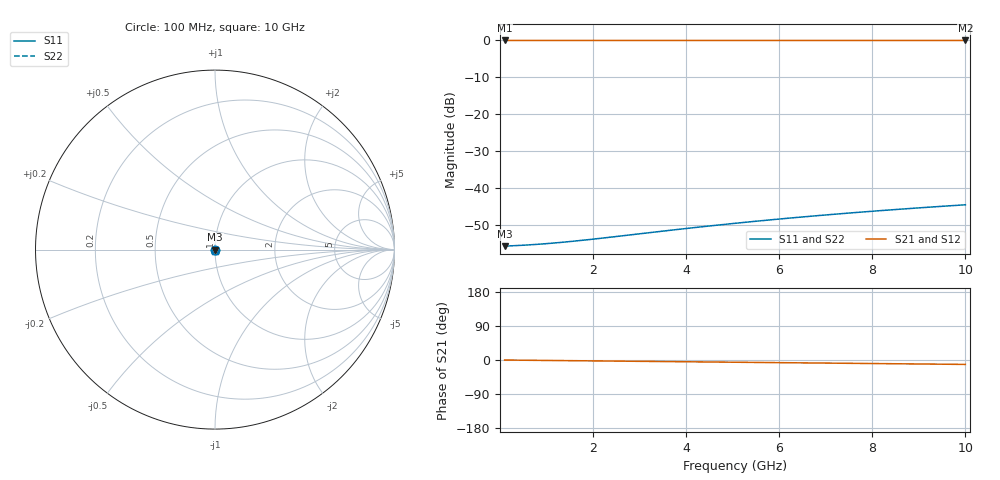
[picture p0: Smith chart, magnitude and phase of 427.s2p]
# Hz S RI R 50.00
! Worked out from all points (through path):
!   100 points, 100 MHz to 10 GHz, reference 50 ohm
!   highest |S21| = -0.01 dB at 100 MHz (marker M1); lowest = 0.0 dB at 10 GHz (marker M2)
!   group delay of S21, straight-line fit = 3.24 ps
!   lowest |S11| = -55.7 dB at 100 MHz (marker M3), VSWR 1.00, Z = 50.2 - j0.00602 ohm
!   |S11| at or under -10 dB: start of sweep to end of sweep
!   |S22| runs from -55.7 to -44.5 dB; largest |S21 - S12| = 0
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1e8  0.00165 -6e-05  0.9983 -0.00203  0.9983 -0.00203  0.00165 -6e-05
6e8  0.00168 -0.00036  0.9982 -0.0122  0.9982 -0.0122  0.00168 -0.00036
9e8  0.00168 -0.000541  0.9981 -0.0182  0.9981 -0.0182  0.00168 -0.000541
1.1e9  0.00168 -0.000661  0.998 -0.0223  0.998 -0.0223  0.00168 -0.000661
1.3e9  0.00168 -0.000781  0.9979 -0.0263  0.9979 -0.0263  0.00168 -0.000781
1.5e9  0.00168 -0.000901  0.9978 -0.0304  0.9978 -0.0304  0.00168 -0.000901
1.8e9  0.00167 -0.00108  0.9976 -0.0365  0.9976 -0.0365  0.00167 -0.00108
2.3e9  0.00165 -0.00138  0.9971 -0.0466  0.9971 -0.0466  0.00165 -0.00138
3.4e9  0.00159 -0.00204  0.9958 -0.0689  0.9958 -0.0689  0.00159 -0.00204
3.9e9  0.00155 -0.00235  0.9951 -0.079  0.9951 -0.079  0.00155 -0.00235
4.3e9  0.00152 -0.00259  0.9944 -0.0871  0.9944 -0.0871  0.00152 -0.00259
4.7e9  0.00148 -0.00283  0.9936 -0.0952  0.9936 -0.0952  0.00148 -0.00283
5.1e9  0.00144 -0.00307  0.9928 -0.1032  0.9928 -0.1032  0.00144 -0.00307
5.5e9  0.00139 -0.0033  0.9919 -0.1113  0.9919 -0.1113  0.00139 -0.0033
5.9e9  0.00134 -0.00354  0.991 -0.1194  0.991 -0.1194  0.00134 -0.00354
6.3e9  0.00128 -0.00378  0.9899 -0.1274  0.9899 -0.1274  0.00128 -0.00378
6.7e9  0.00122 -0.00402  0.9889 -0.1355  0.9889 -0.1355  0.00122 -0.00402
7.5e9  0.00109 -0.00449  0.9865 -0.1516  0.9865 -0.1516  0.00109 -0.00449
7.9e9  0.00102 -0.00473  0.9852 -0.1596  0.9852 -0.1596  0.00102 -0.00473
8.4e9  0.00093 -0.00502  0.9835 -0.1696  0.9835 -0.1696  0.00093 -0.00502
9.2e9  0.000769 -0.00549  0.9806 -0.1856  0.9806 -0.1856  0.000769 -0.00549
1e10  0.000592 -0.00595  0.9774 -0.2015  0.9774 -0.2015  0.000592 -0.00595
